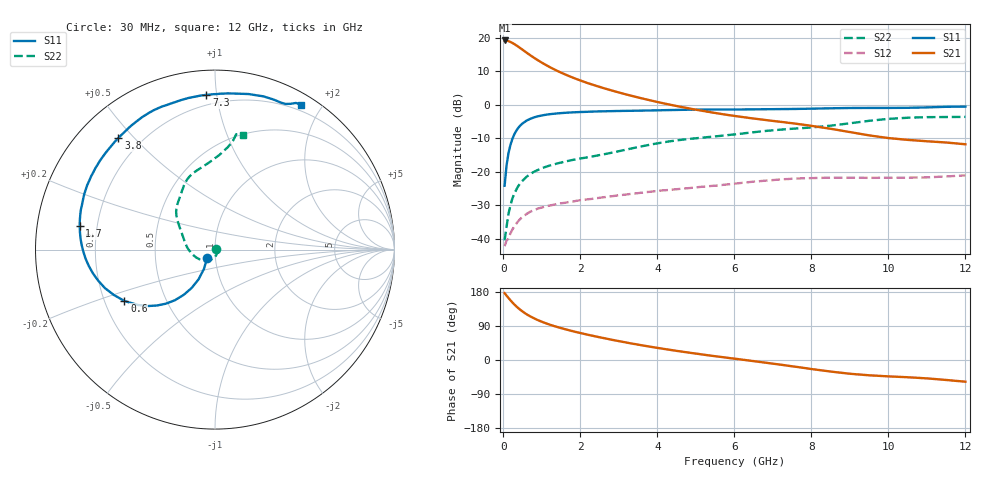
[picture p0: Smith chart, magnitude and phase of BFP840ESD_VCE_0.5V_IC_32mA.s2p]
! Infineon Technologies  Discrete & RF Semiconductors
! BFP840ESD
! VCE =  0.5 V,  IC =  32 mA
! Common Emitter S-Parameters:  May 2012
# GHz  S  MA  R  50
!  f  S11  S21  S12  S22
! GHz  MAG  ANG  MAG  ANG  MAG  ANG  MAG  ANG
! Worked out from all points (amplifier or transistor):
!   93 points, 30 MHz to 12 GHz, reference 50 ohm
!   highest |S21| = 19.2 dB at 30 MHz (marker M1)
!   |S21| within 3 dB of that: start of sweep to 522.9 MHz
!   unconditionally stable (mu >= 1): start of sweep to end of sweep
!   at 1.1 GHz: K = 2.12, MAG = 15.1 dB, |S12| = -30.3 dB
!   at 4.2 GHz: K = 2.81, MAG = 5.6 dB, |S12| = -25.5 dB
!   at 12 GHz: K = 1.98, MAG = -1.0 dB, |S12| = -21.1 dB
!   S11 on the Smith chart (normalised r, x): 30 MHz: 0.91, -0.08; 600 MHz: 0.28, -0.24; 1.7 GHz: 0.13, +0.08; 3.8 GHz: 0.12, +0.45; 7.3 GHz: 0.14, +0.94; 12 GHz: 0.13, +1.75
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0.03  0.0616 -134.3  9.155 176.5  0.0077 16.2  0.0094 39.3
0.08  0.1234 -119.8  9.123 170.0  0.0093 20.2  0.0149 -29.6
0.13  0.1889 -118.9  8.949 163.7  0.01 27.0  0.0233 -60.1
0.23  0.3073 -124.7  8.415 152.1  0.0136 36.7  0.0395 -88.1
0.28  0.3599 -128.4  8.099 146.8  0.0152 40.0  0.0465 -96.7
0.33  0.4066 -132.2  7.76 141.9  0.0166 41.1  0.0533 -104.8
0.43  0.4849 -139.6  7.081 133.1  0.0195 40.8  0.0665 -117.3
0.5  0.5289 -144.3  6.625 127.6  0.0212 40.1  0.0738 -124.3
0.6  0.58 -150.4  6.021 120.8  0.0233 38.0  0.0839 -133.0
0.8  0.6495 -160.7  5.019 109.7  0.0267 35.6  0.1001 -146.4
1  0.6935 -169.1  4.256 100.8  0.0291 33.1  0.1129 -156.7
1.3  0.7336 -179.1  3.425 90.1  0.032 30.9  0.1277 -168.3
1.7  0.7649 170.2  2.692 78.6  0.0352 29.3  0.1457 -179.4
2.1  0.7824 161.1  2.198 68.8  0.038 28.0  0.1608 172.1
2.9  0.8063 145.7  1.584 51.7  0.0436 26.4  0.1971 156.5
3.8  0.822 130.9  1.17 35.3  0.05 23.2  0.2527 144.1
4.1  0.8285 126.5  1.069 30.4  0.0523 22.3  0.2713 140.9
6.1  0.8508 105.6  0.669 2.3  0.0671 13.6  0.3664 121.1
7.3  0.8638 93.2  0.548 -13.7  0.0773 4.0  0.4298 109.6
8.5  0.8865 77.9  0.438 -30.5  0.0813 -6.8  0.4871 93.7
10.5  0.9012 64.2  0.299 -45.5  0.0814 -18.4  0.6402 79.9
12  0.9392 59.3  0.257 -57.3  0.088 -24.7  0.6592 76.2
